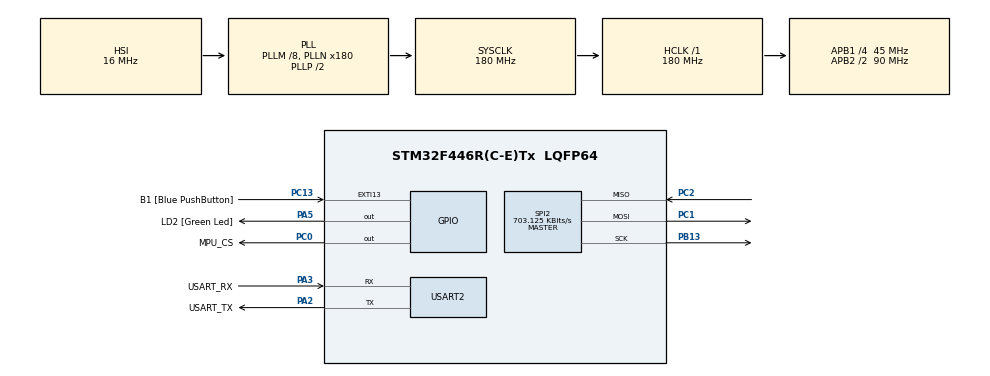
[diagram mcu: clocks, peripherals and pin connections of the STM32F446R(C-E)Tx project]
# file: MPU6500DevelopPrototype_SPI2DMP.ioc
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Mcu.Family=STM32F4
Mcu.Name=STM32F446R(C-E)Tx
Mcu.Package=LQFP64
NVIC.PriorityGroup=NVIC_PRIORITYGROUP_0
PA13.GPIO_Label=TMS
PA13.Mode=Serial_Wire
PA13.Signal=SYS_JTMS-SWDIO
PA14.GPIO_Label=TCK
PA14.Mode=Serial_Wire
PA14.Signal=SYS_JTCK-SWCLK
PA2.GPIO_Label=USART_TX
PA2.Mode=Asynchronous
PA2.Signal=USART2_TX
PA3.GPIO_Label=USART_RX
PA3.Mode=Asynchronous
PA3.Signal=USART2_RX
PA5.GPIO_Label=LD2 [Green Led]
PA5.Signal=GPIO_Output
PB13.Mode=Full_Duplex_Master
PB13.Signal=SPI2_SCK
PB3.GPIO_Label=SWO
PB3.Signal=SYS_JTDO-SWO
PC0.GPIO_Label=MPU_CS
PC0.GPIO_Speed=GPIO_SPEED_FREQ_VERY_HIGH
PC0.PinState=GPIO_PIN_SET
PC0.Signal=GPIO_Output
PC1.Mode=Full_Duplex_Master
PC1.Signal=SPI2_MOSI
PC13.GPIO_Label=B1 [Blue PushButton]
PC13.GPIO_ModeDefaultEXTI=GPIO_MODE_IT_FALLING
PC13.Signal=GPXTI13
PC14-OSC32_IN.Mode=LSE-External-Oscillator
PC14-OSC32_IN.Signal=RCC_OSC32_IN
PC15-OSC32_OUT.Mode=LSE-External-Oscillator
PC15-OSC32_OUT.Signal=RCC_OSC32_OUT
PC2.Mode=Full_Duplex_Master
PC2.Signal=SPI2_MISO
PH0-OSC_IN.Mode=HSE-External-Oscillator
PH0-OSC_IN.Signal=RCC_OSC_IN
PH1-OSC_OUT.Mode=HSE-External-Oscillator
PH1-OSC_OUT.Signal=RCC_OSC_OUT
ProjectManager.HeapSize=0x200
ProjectManager.StackSize=0x400
ProjectManager.TargetToolchain=CMake
RCC.48MHZClocksFreq_Value=84000000
RCC.AHBFreq_Value=180000000
RCC.APB1CLKDivider=RCC_HCLK_DIV4
RCC.APB1Freq_Value=45000000
RCC.APB1TimFreq_Value=90000000
RCC.APB2CLKDivider=RCC_HCLK_DIV2
RCC.APB2Freq_Value=90000000
RCC.APB2TimFreq_Value=180000000
RCC.CortexFreq_Value=180000000
RCC.FLatency-AdvancedSettings=FLASH_LATENCY_5
RCC.HCLKFreq_Value=180000000
RCC.HSE_VALUE=8000000
RCC.HSI_VALUE=16000000
RCC.PLLM=8
RCC.PLLN=180
RCC.SYSCLKFreq_VALUE=180000000
RCC.SYSCLKSource=RCC_SYSCLKSOURCE_PLLCLK
RCC.USBFreq_Value=180000000
RCC.VCOOutputFreq_Value=360000000
SPI2.BaudRatePrescaler=SPI_BAUDRATEPRESCALER_64
SPI2.CLKPhase=SPI_PHASE_2EDGE
SPI2.CLKPolarity=SPI_POLARITY_HIGH
SPI2.CalculateBaudRate=703.125 KBits/s
SPI2.Direction=SPI_DIRECTION_2LINES
SPI2.Mode=SPI_MODE_MASTER
SPI2.VirtualType=VM_MASTER
USART2.VirtualMode=VM_ASYNC
board=NUCLEO-F446RE

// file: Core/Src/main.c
/* USER CODE BEGIN Header */
/**
  ******************************************************************************
  * @file           : main.c
  * @brief          : Main program body
  ******************************************************************************
  * @attention
  *
  * Copyright (c) 2026 STMicroelectronics.
  * All rights reserved.
  *
  * This software is licensed under terms that can be found in the LICENSE file
  * in the root directory of this software component.
  * If no LICENSE file comes with this software, it is provided AS-IS.
  *
  ******************************************************************************
  */
/* USER CODE END Header */
#include "main.h"
#include "spi.h"
#include "usart.h"
#include "gpio.h"

/* USER CODE BEGIN Includes */
#include <MPU6500.h>
#include <math.h>
/* USER CODE END Includes */

void SystemClock_Config(void);

/* USER CODE BEGIN 0 */
const double q30 = 1073741824.0f, k = 180.0 / 3.1415926535897932384626433832795;
double q0, q1, q2, q3;
float fpitch, froll, fyaw;
uint32_t sensor_timestamp;
int16_t gyro[3], acce[3], sensors;
unsigned char more;
int32_t quat[4];

int _write(int file, char *ptr, int len) {
  (void)file;
  HAL_UART_Transmit(&huart2, (uint8_t *)ptr, len, 10);
  return len;
}

/* USER CODE END 0 */

int main(void)
{

  /* MCU Configuration--------------------------------------------------------*/

  /* Reset of all peripherals, Initializes the Flash interface and the Systick. */
  HAL_Init();

  /* Configure the system clock */
  SystemClock_Config();

  /* Initialize all configured peripherals */
  MX_GPIO_Init();
  MX_USART2_UART_Init();
  MX_SPI2_Init();
  /* USER CODE BEGIN 2 */
  while(MPU6500Init() != HAL_OK){};

  /* USER CODE END 2 */

  /* Infinite loop */
  /* USER CODE BEGIN WHILE */
  while (1)
  {

    dmp_read_fifo(gyro, acce, (long *)quat, (unsigned long *)&sensor_timestamp, &sensors, &more);
    if(sensors & (INV_WXYZ_QUAT)){
      q0 = quat[0] / q30;
      q1 = quat[1] / q30;
      q2 = quat[2] / q30;
      q3 = quat[3] / q30;
      fpitch = asin(-2 * q1 * q3 + 2 * q0 * q2)* k;
      froll  = atan2(2 * q2 * q3 + 2 * q0 * q1, -2 * q1 * q1 - 2 * q2 * q2 + 1)* k;
      fyaw   = atan2(2 * (q1 * q2 + q0 * q3), q0 * q0 + q1 * q1 - q2 * q2 - q3 * q3) * k;
      printf("%.2f,%.2f,%.2f\n", froll, fpitch, fyaw);
    }

    /* USER CODE END WHILE */

  }
}

void SystemClock_Config(void)
{
  RCC_OscInitTypeDef RCC_OscInitStruct = {0};
  RCC_ClkInitTypeDef RCC_ClkInitStruct = {0};

  /** Configure the main internal regulator output voltage
  */
  __HAL_RCC_PWR_CLK_ENABLE();
  __HAL_PWR_VOLTAGESCALING_CONFIG(PWR_REGULATOR_VOLTAGE_SCALE1);

  /** Initializes the RCC Oscillators according to the specified parameters
  * in the RCC_OscInitTypeDef structure.
  */
  RCC_OscInitStruct.OscillatorType = RCC_OSCILLATORTYPE_HSI;
  RCC_OscInitStruct.HSIState = RCC_HSI_ON;
  RCC_OscInitStruct.HSICalibrationValue = RCC_HSICALIBRATION_DEFAULT;
  RCC_OscInitStruct.PLL.PLLState = RCC_PLL_ON;
  RCC_OscInitStruct.PLL.PLLSource = RCC_PLLSOURCE_HSI;
  RCC_OscInitStruct.PLL.PLLM = 8;
  RCC_OscInitStruct.PLL.PLLN = 180;
  RCC_OscInitStruct.PLL.PLLP = RCC_PLLP_DIV2;
  RCC_OscInitStruct.PLL.PLLQ = 2;
  RCC_OscInitStruct.PLL.PLLR = 2;
  if (HAL_RCC_OscConfig(&RCC_OscInitStruct) != HAL_OK)
  {
    Error_Handler();
  }

  /** Activate the Over-Drive mode
  */
  if (HAL_PWREx_EnableOverDrive() != HAL_OK)
  {
    Error_Handler();
  }

  /** Initializes the CPU, AHB and APB buses clocks
  */
  RCC_ClkInitStruct.ClockType = RCC_CLOCKTYPE_HCLK|RCC_CLOCKTYPE_SYSCLK
                              |RCC_CLOCKTYPE_PCLK1|RCC_CLOCKTYPE_PCLK2;
  RCC_ClkInitStruct.SYSCLKSource = RCC_SYSCLKSOURCE_PLLCLK;
  RCC_ClkInitStruct.AHBCLKDivider = RCC_SYSCLK_DIV1;
  RCC_ClkInitStruct.APB1CLKDivider = RCC_HCLK_DIV4;
  RCC_ClkInitStruct.APB2CLKDivider = RCC_HCLK_DIV2;

  if (HAL_RCC_ClockConfig(&RCC_ClkInitStruct, FLASH_LATENCY_5) != HAL_OK)
  {
    Error_Handler();
  }
}

void Error_Handler(void)
{
  __disable_irq();
  while (1)
  {
  }
}
